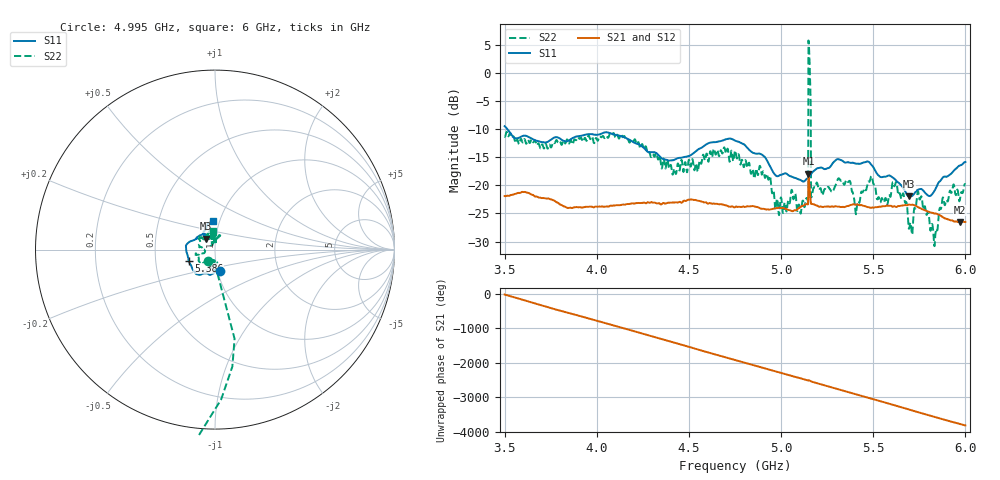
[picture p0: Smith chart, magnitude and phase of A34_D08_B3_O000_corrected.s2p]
! Created with skrf 1.9.0 (http://scikit-rf.org).
# Hz S RI R 50.0
!freq ReS11 ImS11 ReS21 ImS21 ReS12 ImS12 ReS22 ImS22
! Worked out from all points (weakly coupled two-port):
!   1601 points, 3.5 GHz to 6 GHz, reference 50 ohm
!   highest |S21| = -17.89 dB at 5.148 GHz (marker M1); lowest = -26.5 dB at 5.969 GHz (marker M2)
!   lowest |S11| = -22.0 dB at 5.695 GHz (marker M3), VSWR 1.17, Z = 44.7 + j5.45 ohm
!   |S11| at or under -10 dB: 3.516 GHz to end of sweep
!   |S22| runs from -30.8 to 5.8 dB; largest |S21 - S12| = 0.0011
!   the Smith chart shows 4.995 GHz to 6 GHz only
!   S11 on the Smith chart (normalised r, x): 4.995 GHz: 1.03, -0.25; 5.386 GHz: 0.74, -0.09; 6 GHz: 0.93, +0.31
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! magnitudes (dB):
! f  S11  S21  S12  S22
! 3.5 GHz  -9.4  -21.9  -21.9  -11.3
! 3.917 GHz  -11.2  -23.9  -23.9  -11.6
! 4.334 GHz  -14.6  -23.2  -23.1  -15.4
! 4.75 GHz  -12.0  -23.9  -23.8  -13.8
! 4.931 GHz  -16.1  -24.3  -24.2  -19.0
! 4.995 GHz  -18.1  -24.0  -23.9  -22.9
! 5.134 GHz  -19.0  -23.3  -23.3  -22.5
! 5.148 GHz  -18.6  -17.9  -17.9  5.8
! 5.161 GHz  -18.1  -22.8  -22.8  -5.9
! 5.167 GHz  -17.8  -23.3  -23.3  -21.9
! 5.175 GHz  -17.5  -23.3  -23.3  -20.5
! 5.386 GHz  -16.0  -23.4  -23.4  -21.2
! 5.412 GHz  -16.1  -23.4  -23.4  -23.5
! 5.486 GHz  -16.1  -24.0  -23.9  -18.6
! 5.584 GHz  -18.2  -23.6  -23.6  -22.0
! 5.617 GHz  -18.9  -23.7  -23.7  -20.0
! 5.695 GHz  -22.0  -23.4  -23.4  -27.6
! 5.752 GHz  -20.6  -24.0  -24.0  -22.5
! 5.838 GHz  -20.6  -25.0  -25.0  -28.6
! 5.87 GHz  -18.9  -25.5  -25.4  -23.8
! 5.969 GHz  -16.4  -26.5  -26.5  -22.7
! 6 GHz  -15.8  -26.5  -26.5  -19.8
